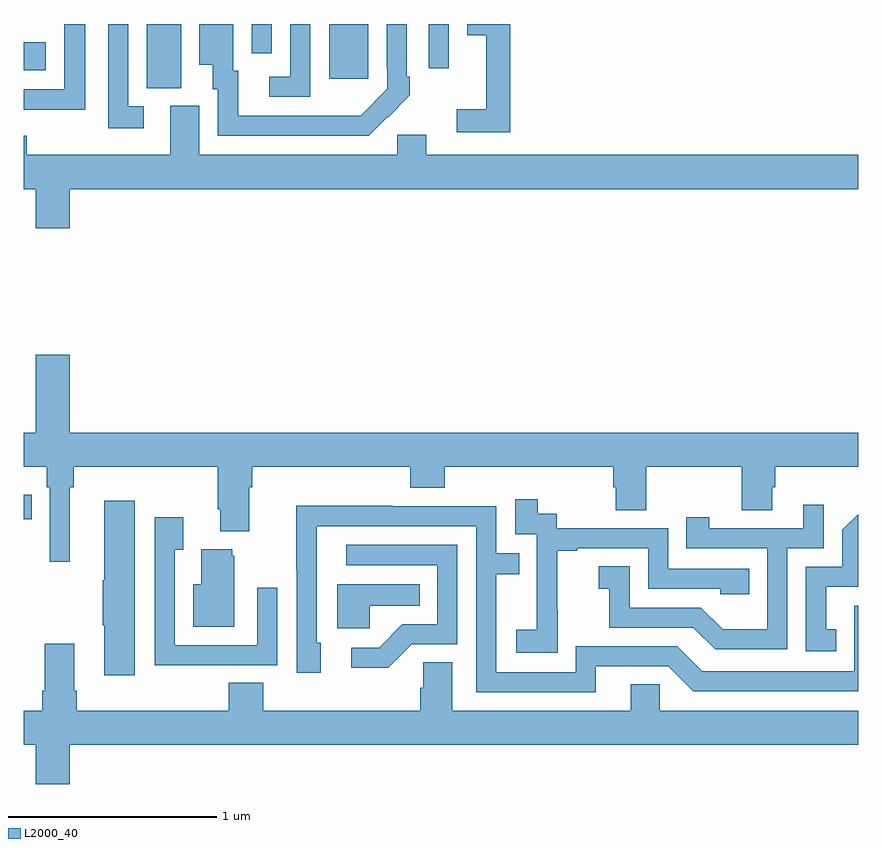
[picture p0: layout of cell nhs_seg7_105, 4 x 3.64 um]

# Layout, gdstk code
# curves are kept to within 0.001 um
import gdstk
lib = gdstk.Library(unit=1e-6, precision=1e-09)
def R(c, l, rs):  # rectangles x0, y0, x1, y1
    for r in rs: c.add(gdstk.rectangle(r[:2], r[2:], *l))
def P(c, l, *ps):  # polygons
    for p in ps: c.add(gdstk.Polygon(p, *l))
L2000_40 = (2000, 40)

nhs_seg7_105 = lib.new_cell('nhs_seg7_105')
R(nhs_seg7_105, L2000_40, [(117,1073.626,117.038,1073.742), (117.59,1075.693,117.754,1076), (118.463,1075.737,118.651,1076), (117,1075.778,117.106,1075.912), (118.941,1075.788,119.037,1076), (118.092,1075.86,118.188,1076)])
P(nhs_seg7_105, L2000_40, [(117.574,1075.605),(117.501,1075.605),(117.501,1076),(117.405,1076),(117.405,1075.5),(117.574,1075.5)],
  [(118.745,1075.555),(118.746,1075.554),(118.851,1075.659),(118.851,1075.747),(118.836,1075.747),(118.836,1076),(118.74,1076),(118.74,1075.789),(118.743,1075.789),(118.743,1075.689),(118.615,1075.561),(118.511,1075.56),(118.027,1075.56),(118.027,1075.776),(118.003,1075.776),(118.003,1076),(117.842,1076),(117.842,1075.805),(117.905,1075.805),(117.905,1075.686),(117.93,1075.686),(117.93,1075.464),(118.654,1075.464)],
  [(118.374,1076),(118.278,1076),(118.278,1075.746),(118.176,1075.746),(118.176,1075.65),(118.374,1075.65)],
  [(117.295,1076),(117.194,1076),(117.194,1075.686),(117,1075.686),(117,1075.59),(117.072,1075.59),(117.072,1075.589),(117.295,1075.589)],
  [(119.333,1076),(119.126,1076),(119.126,1075.946),(119.216,1075.946),(119.216,1075.591),(119.076,1075.591),(119.076,1075.482),(119.333,1075.482)],
  [(117.22,1075.208),(121,1075.208),(121,1075.372),(118.93,1075.372),(118.93,1075.47),(118.791,1075.47),(118.791,1075.372),(117.841,1075.372),(117.841,1075.608),(117.701,1075.608),(117.701,1075.372),(117.014,1075.372),(117.014,1075.465),(117,1075.465),(117,1075.208),(117.056,1075.208),(117.056,1075.02),(117.22,1075.02)],
  [(117.22,1073.78),(117.239,1073.78),(117.239,1073.876),(117.929,1073.876),(117.929,1073.674),(117.941,1073.674),(117.941,1073.567),(118.081,1073.567),(118.081,1073.78),(118.094,1073.78),(118.094,1073.876),(118.853,1073.876),(118.853,1073.777),(119.018,1073.777),(119.018,1073.876),(119.825,1073.876),(119.825,1073.778),(119.837,1073.778),(119.837,1073.668),(119.985,1073.668),(119.985,1073.876),(120.442,1073.876),(120.442,1073.668),(120.589,1073.668),(120.589,1073.778),(120.602,1073.778),(120.602,1073.876),(121,1073.876),(121,1074.04),(117.22,1074.04),(117.22,1074.415),(117.056,1074.415),(117.056,1074.04),(117,1074.04),(117,1073.876),(117.11,1073.876),(117.11,1073.78),(117.123,1073.78),(117.123,1073.421),(117.22,1073.421)],
  [(119.559,1073.191),(119.558,1073.191),(119.558,1073.475),(119.653,1073.475),(119.653,1073.487),(119.994,1073.487),(119.994,1073.292),(120.339,1073.292),(120.339,1073.265),(120.479,1073.265),(120.479,1073.388),(120.09,1073.388),(120.09,1073.583),(119.556,1073.583),(119.556,1073.652),(119.464,1073.652),(119.464,1073.722),(119.355,1073.722),(119.355,1073.553),(119.46,1073.553),(119.46,1073.324),(119.459,1073.324),(119.459,1073.095),(119.361,1073.095),(119.361,1072.985),(119.559,1072.985)],
  [(117.532,1073.713),(117.386,1073.713),(117.386,1073.333),(117.379,1073.333),(117.379,1073.116),(117.386,1073.116),(117.386,1072.878),(117.532,1072.878)],
  [(120.66,1073.487),(120.834,1073.487),(120.834,1073.695),(120.737,1073.695),(120.737,1073.583),(120.286,1073.583),(120.286,1073.635),(120.175,1073.635),(120.175,1073.487),(120.564,1073.487),(120.564,1073.098),(120.35,1073.098),(120.246,1073.202),(119.904,1073.202),(119.904,1073.401),(119.757,1073.401),(119.757,1073.291),(119.806,1073.291),(119.806,1073.106),(120.209,1073.106),(120.314,1073.001),(120.66,1073.001)],
  [(119.743,1072.92),(120.09,1072.92),(120.21,1072.8),(121,1072.8),(121,1073.211),(120.981,1073.211),(120.981,1072.896),(120.252,1072.896),(120.132,1073.016),(119.646,1073.016),(119.646,1072.893),(119.265,1072.893),(119.265,1073.362),(119.375,1073.362),(119.375,1073.463),(119.265,1073.463),(119.265,1073.688),(118.769,1073.688),(118.769,1073.69),(118.306,1073.69),(118.306,1073.383),(118.308,1073.383),(118.308,1072.89),(118.423,1072.89),(118.423,1073.034),(118.404,1073.034),(118.405,1073.592),(119.169,1073.592),(119.169,1072.797),(119.743,1072.797)],
  [(120.896,1073.097),(120.847,1073.097),(120.847,1073.301),(121,1073.301),(121,1073.65),(120.924,1073.574),(120.924,1073.397),(120.75,1073.397),(120.75,1072.992),(120.896,1072.992)],
  [(117.899,1072.926),(118.215,1072.926),(118.215,1073.296),(118.119,1073.296),(118.119,1073.022),(117.723,1073.022),(117.723,1073.479),(117.763,1073.479),(117.763,1073.635),(117.627,1073.635),(117.627,1072.925),(117.899,1072.925)],
  [(118.86,1073.025),(119.079,1073.025),(119.079,1073.502),(118.545,1073.502),(118.545,1073.406),(118.983,1073.406),(118.983,1073.121),(118.814,1073.121),(118.703,1073.01),(118.569,1073.01),(118.569,1072.913),(118.747,1072.913)],
  [(118.009,1073.451),(117.998,1073.451),(117.998,1073.482),(117.851,1073.482),(117.851,1073.314),(117.812,1073.314),(117.812,1073.111),(118.009,1073.111)],
  [(118.659,1073.21),(118.898,1073.21),(118.898,1073.314),(118.502,1073.314),(118.502,1073.102),(118.659,1073.102)],
  [(117.22,1072.544),(121,1072.544),(121,1072.708),(120.048,1072.708),(120.048,1072.835),(119.909,1072.835),(119.909,1072.708),(119.053,1072.708),(119.053,1072.94),(118.914,1072.94),(118.914,1072.817),(118.901,1072.817),(118.901,1072.708),(118.148,1072.708),(118.148,1072.841),(117.983,1072.841),(117.983,1072.708),(117.254,1072.708),(117.254,1072.804),(117.241,1072.804),(117.241,1073.029),(117.101,1073.029),(117.101,1072.804),(117.089,1072.804),(117.089,1072.708),(117,1072.708),(117,1072.544),(117.056,1072.544),(117.056,1072.356),(117.22,1072.356)])

lib.write_gds('nhs_seg7_105.gds')
